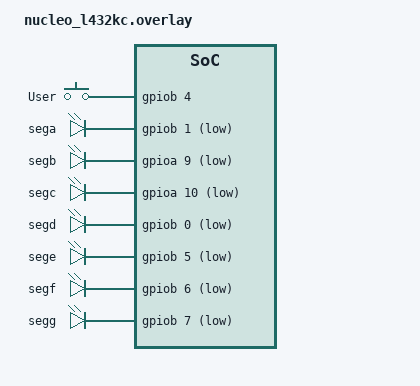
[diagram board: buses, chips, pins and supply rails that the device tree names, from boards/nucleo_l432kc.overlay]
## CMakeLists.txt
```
# SPDX-License-Identifier: Apache-2.0

cmake_minimum_required(VERSION 3.20.0)

set( CMAKE_CXX_STANDARD 20 )

find_package(Zephyr REQUIRED HINTS $ENV{ZEPHYR_BASE})
project(button)

target_sources(app PRIVATE src/main.cpp src/seg7.cpp)
set_target_properties(app PROPERTIES CXX_STANDARD 20 )
```

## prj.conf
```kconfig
CONFIG_CPP=y
CONFIG_GLIBCXX_LIBCPP=y
CONFIG_STD_CPP20=y
CONFIG_GPIO=y
```

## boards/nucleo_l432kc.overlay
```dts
/*
 * Copyright (c) 2024 Renesas Electronics Corporation
 * SPDX-License-Identifier: Apache-2.0
 */

#include <zephyr/dt-bindings/input/input-event-codes.h>

/ {
    gpio_keys {
		compatible = "gpio-keys";
		debounce-interval-ms = <50>;

		user_button: button {
			label = "User";
			gpios = <&gpiob 4 (GPIO_PULL_DOWN | GPIO_ACTIVE_HIGH)>;
			zephyr,code = <INPUT_KEY_0>;
		};
	};
	leds {
    	compatible = "gpio-leds";
        sega: led_gpio_a {
            gpios = <&gpiob 1 GPIO_ACTIVE_LOW>;
        };
        segb: led_gpio_b {
            gpios = <&gpioa 9 GPIO_ACTIVE_LOW>;
        };
        segc: led_gpio_c {
            gpios = <&gpioa 10 GPIO_ACTIVE_LOW>;
        };
        segd: led_gpio_d {
            gpios = <&gpiob 0 GPIO_ACTIVE_LOW>;
        };
        sege: led_gpio_e {
            gpios = <&gpiob 5 GPIO_ACTIVE_LOW>;
        };
        segf: led_gpio_f {
            gpios = <&gpiob 6 GPIO_ACTIVE_LOW>;
        };
        segg: led_gpio_g {
            gpios = <&gpiob 7 GPIO_ACTIVE_LOW>;
        };
	};
    aliases {
      sw0 = &user_button;
      sega = &sega;
      segb = &segb;
      segc = &segc;
      segd = &segd;
      sege = &sege;
      segf = &segf;
      segg = &segg;
    };
};
```

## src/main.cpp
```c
/*
 * Copyright (c) 2016 Open-RnD Sp. z o.o.
 * Copyright (c) 2020 Nordic Semiconductor ASA
 *
 * SPDX-License-Identifier: Apache-2.0
 *
 * NOTE: If you are looking into an implementation of button events with
 * debouncing, check out `input` subsystem and `samples/subsys/input/input_dump`
 * example instead.
 */

#include <vector>
#include <array>

#include <zephyr/kernel.h>
#include <zephyr/device.h>
#include <zephyr/drivers/gpio.h>
#include <zephyr/sys/util.h>
#include <zephyr/sys/printk.h>
#include <inttypes.h>

#include "seg7.h"

#define SLEEP_TIME_MS	1

/*
 * Get button configuration from the devicetree sw0 alias. This is mandatory.
 */
#define SW0_NODE	DT_ALIAS(sw0)
#if !DT_NODE_HAS_STATUS_OKAY(SW0_NODE)
#error "Unsupported board: sw0 devicetree alias is not defined"
#endif

#define SEGA_NODE DT_ALIAS(sega)
#if !DT_NODE_HAS_STATUS_OKAY(SEGA_NODE)
#error "sega missing"
#endif

static constexpr size_t STACKSIZE=1024;
static constexpr size_t PRIORITY=7;

static const struct gpio_dt_spec button = GPIO_DT_SPEC_GET_OR(SW0_NODE, gpios,
							      {0});
static struct gpio_callback button_cb_data;

/*
 * The led0 devicetree alias is optional. If present, we'll use it
 * to turn on the LED whenever the button is pressed.
 */
static struct gpio_dt_spec led = GPIO_DT_SPEC_GET_OR(DT_ALIAS(led0), gpios,
						     {0});
static struct gpio_dt_spec sega = GPIO_DT_SPEC_GET_OR(DT_ALIAS(sega), gpios,
						     {0});
static struct gpio_dt_spec segb = GPIO_DT_SPEC_GET_OR(DT_ALIAS(segb), gpios,
						     {0});
static struct gpio_dt_spec segc = GPIO_DT_SPEC_GET_OR(DT_ALIAS(segc), gpios,
						     {0});
static struct gpio_dt_spec segd = GPIO_DT_SPEC_GET_OR(DT_ALIAS(segd), gpios,
						     {0});
static struct gpio_dt_spec sege = GPIO_DT_SPEC_GET_OR(DT_ALIAS(sege), gpios,
						     {0});
static struct gpio_dt_spec segf = GPIO_DT_SPEC_GET_OR(DT_ALIAS(segf), gpios,
						     {0});
static struct gpio_dt_spec segg = GPIO_DT_SPEC_GET_OR(DT_ALIAS(segg), gpios,
						     {0});

//////////////////////////////////////////////////
// WorkerCommand and Queue
enum class WorkerCommand {
    Start,
    Stop
};

K_MSGQ_DEFINE( worker_queue, sizeof(WorkerCommand), 5, 1);

//////////////////////////////////////////////////
// ButtonPressCommand and Queue
enum class ButtonPressCommand {
    B1,
};
K_MSGQ_DEFINE( button_press_queue, sizeof(WorkerCommand), 5, 1);

//////////////////////////////////////////////////
// Feedback ist das Flashen der Bestätigungs-LED auf dem Board
enum class FeedBack {
    LongFlash,
    ShortFlash
};
K_MSGQ_DEFINE( feedback_queue, sizeof(FeedBack), 5, 1);

void feedback_handler(void) {
    using item_t = std::pair<FeedBack,std::vector<size_t>>;
    static const std::array<item_t,2> zeiten = {
        item_t{FeedBack::LongFlash,{500}},
        item_t{FeedBack::ShortFlash,{200,100,200}}
    };
    while (true) {
        FeedBack f;
        int const ret = k_msgq_get(&feedback_queue, &f, K_FOREVER);
        if (ret==0) {
            for (auto const& i:zeiten) {
                if (i.first==f) {
                    int status = 1;
                    for (auto const zi:i.second) {
                        gpio_pin_set_dt(&led, status);
                        k_sleep(K_MSEC(zi));
                        status = 1-status;
                    }
                    gpio_pin_set_dt(&led, 0);
                }
            }

        }
    }
}

K_THREAD_DEFINE( feedback_handler_id, STACKSIZE, feedback_handler, NULL, NULL, NULL, PRIORITY, 0, 0);

//////////////////////////////////////////////////

bool running = false;

//////////////////////////////////////////////////
void button_pressed_isr(const struct device *dev, struct gpio_callback *cb,
		    uint32_t pins)
{
    printk("Button pressed at %lld ms\n", k_uptime_get());
    ButtonPressCommand bcmd = ButtonPressCommand::B1;
    k_msgq_put(&button_press_queue,&bcmd, K_NO_WAIT);
}

//////////////////////////////////////////////////
void button_handler(void) {
    while(1) {
        ButtonPressCommand bcmd;
        k_msgq_get(&button_press_queue, &bcmd, K_FOREVER);
        ButtonPressCommand bcmd2;
        int const result = k_msgq_get(&button_press_queue, &bcmd2, K_MSEC(500));
        if (result==0) {
            printk("Doppelt\n");
            FeedBack const f = FeedBack::LongFlash;
            k_msgq_put(&feedback_queue,&f, K_NO_WAIT);
        } else {
            printk("Einfach\n");
            WorkerCommand const wcmd = running ? WorkerCommand::Stop : WorkerCommand::Start;
            k_msgq_put(&worker_queue,&wcmd, K_NO_WAIT);
            FeedBack const f = FeedBack::ShortFlash;
            k_msgq_put(&feedback_queue,&f, K_NO_WAIT);
        }
    }
}

K_THREAD_DEFINE( button_handler_id, STACKSIZE, button_handler, NULL, NULL, NULL, PRIORITY, 0, 0);

//////////////////////////////////////////////////

void takter(void) {
    enum WorkerCommand cmd;
    k_msgq_get(&worker_queue, &cmd, K_FOREVER);
    while(1) {
        k_msgq_get(&worker_queue, &cmd, K_MSEC(500));
        switch (cmd) {
            case WorkerCommand::Start:
                running = true;
                break;
            case WorkerCommand::Stop:
                running = false;
                break;
        }
        if (running) {
            show_bits(next_char_bits());
        }
    }
}

K_THREAD_DEFINE( takter_id, STACKSIZE, takter, NULL, NULL, NULL, PRIORITY, 0, 0);

//////////////////////////////////////////////////
void main_thread(void)
{
	int ret;
	enum WorkerCommand wcmd;

	printk("Starting rbapp\n");

	if (!gpio_is_ready_dt(&button)) {
		printk("Error: button device %s is not ready\n",
		       button.port->name);
		return;
	}

	ret = gpio_pin_configure_dt(&button, GPIO_INPUT);
	if (ret != 0) {
		printk("Error %d: failed to configure %s pin %d\n",
		       ret, button.port->name, button.pin);
		return;
	}

	ret = gpio_pin_interrupt_configure_dt(&button,
					      GPIO_INT_EDGE_TO_ACTIVE);
	if (ret != 0) {
		printk("Error %d: failed to configure interrupt on %s pin %d\n",
			ret, button.port->name, button.pin);
		return;
	}

	gpio_init_callback(&button_cb_data, button_pressed_isr, BIT(button.pin));
	gpio_add_callback(button.port, &button_cb_data);
	printk("Set up button at %s pin %d\n", button.port->name, button.pin);

	if (led.port && !gpio_is_ready_dt(&led)) {
		printk("Error %d: LED device %s is not ready; ignoring it\n",
		       ret, led.port->name);
		led.port = NULL;
	}
	if (led.port) {
		ret = gpio_pin_configure_dt(&led, GPIO_OUTPUT);
		if (ret != 0) {
			printk("Error %d: failed to configure LED device %s pin %d\n",
			       ret, led.port->name, led.pin);
			led.port = NULL;
		} else {
			printk("Set up LED at %s pin %d\n", led.port->name, led.pin);
		}
	}

	init_segments();
	init_balken( &sega, B_A);
	init_balken( &segb, B_B);
	init_balken( &segc, B_C);
	init_balken( &segd, B_D);
	init_balken( &sege, B_E);
	init_balken( &segf, B_F);
	init_balken( &segg, B_G);

	printk("Press the button\n");
	if (led.port) {
	    wcmd = WorkerCommand::Start;
        k_msgq_put(&worker_queue,&wcmd, K_NO_WAIT);
		while (1) {
			/* If we have an LED, match its state to the button's. */
			int val = gpio_pin_get_dt(&button);

			if (val >= 0) {
				//gpio_pin_set_dt(&led, val);
			}
			k_msleep(SLEEP_TIME_MS);
		}
	}
}

K_THREAD_DEFINE( main_thread_id, STACKSIZE, main_thread, NULL, NULL, NULL, PRIORITY, 0, 0);
```

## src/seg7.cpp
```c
#include <tuple>
#include <type_traits>
#include <zephyr/drivers/gpio.h>
#include <zephyr/sys/printk.h>
#include "seg7.h"

struct seg_data {
    struct gpio_dt_spec* spec;
    const char* name;
};

static struct seg_data segs[NUM_BALKEN];

void init_segments() {
    int i;
    for (i=0;i<NUM_BALKEN;i++) {
        segs[i].spec = NULL;
        segs[i].name = NULL;
    }
}

void init_balken( struct gpio_dt_spec* s, enum Balken b ) {
    const char* name = s->port->name;
    bool ret = false;
    printk("Init segment %d/%s\n", b, name);

    ret = gpio_is_ready_dt(s);
    if (s->port && !ret) {
		printk("Error %d: segment device %s is not ready; ignoring it\n",
		       ret, s->port->name);
		s->port = NULL;
	}
	if (s->port) {
		ret = gpio_pin_configure_dt(s, GPIO_OUTPUT);
		if (ret != 0) {
			printk("Error %d: failed to configure sega device %s pin %d\n",
			       ret, s->port->name, s->pin);
			s->port = NULL;
		} else {
			printk("Set up segment at %s pin %d\n", name, s->pin);
			gpio_pin_set_dt(s,0);
		}
		segs[b].spec = s;
		segs[b].name = name;
	}
}

void toggle_all_segments() {
    int i;
    for (i=0;i<NUM_BALKEN;i++) {
        if (segs[i].spec != NULL) {
            gpio_pin_toggle_dt(segs[i].spec);
        }
    }
}

void show_bits(unsigned short b) {
    int i;
    for (i=0;i<NUM_BALKEN;i++) {
        int const v = (b & (1<<i)) ? 1:0;
        gpio_pin_set_dt(segs[i].spec,v);
    }
}

template<Balken... B> constexpr unsigned short bits() {
    return ((1<<B)|...);
}

template<char C,Balken... B> struct SegChar {
    static constexpr char c = C;
    static constexpr unsigned short bi = bits<B...>();
    static void show() {
        show_bits(bi);
        printk("Showing %c, %d\n",c,bi);
    }
};

using SegChar0 = SegChar<'0',B_A,B_B,B_C,B_D,B_E,B_F>;
using SegChar1 = SegChar<'1',B_B,B_C>;
using SegChar2 = SegChar<'2',B_A,B_B,B_G,B_E,B_D>;
using SegChar3 = SegChar<'3',B_A,B_B,B_G,B_C,B_D>;
using SegChar4 = SegChar<'4',B_F,B_G,B_B,B_C>;
using SegChar5 = SegChar<'5',B_A,B_F,B_G,B_C,B_D>;
using SegChar6 = SegChar<'6',B_A,B_F,B_E,B_D,B_C,B_G>;
using SegChar7 = SegChar<'7',B_A,B_B,B_C>;
using SegChar8 = SegChar<'8',B_A,B_B,B_C,B_D,B_E,B_F,B_G>;
using SegChar9 = SegChar<'9',B_D,B_C,B_B,B_A,B_F,B_G>;
using SegCharA = SegChar<'A',B_E,B_F,B_A,B_B,B_C,B_G>;
using SegCharB = SegChar<'B',B_F,B_E,B_D,B_C,B_G>;
using SegCharC = SegChar<'C',B_A,B_F,B_E,B_D>;
using SegCharD = SegChar<'D',B_B,B_G,B_E,B_D,B_C>;
using SegCharE = SegChar<'E',B_A,B_F,B_G,B_E,B_D>;
using SegCharF = SegChar<'F',B_A,B_F,B_G,B_E>;
using AllChars = std::tuple<SegChar0,SegChar1,SegChar2,SegChar3,
    SegChar4,SegChar5,SegChar6,SegChar7,SegChar8,SegChar9,
    SegCharA,SegCharB,SegCharC,SegCharD,SegCharE,SegCharF>;
static constexpr size_t num_chars = std::tuple_size<AllChars>::value;

template<size_t N>
using seg_char_i = std::tuple_element_t<N,AllChars>;

struct show_op {
    template<typename C>
    struct op {
        static void call() {
            C::show();
        }
    };
};

template<typename OP, size_t N>
void call_char_1( char c ) {
    using char_i = typename std::tuple_element_t<N,AllChars>;
    using op = typename OP::op<char_i>;
    if (c==char_i::c) {
        op::call();
    } else {
        if constexpr (N>0) {
            call_char_1<OP,N-1>(c);
        } else {
            printk("Unknown char");
        }
    }
}

template<typename OP>
void call_char( char c ) {
    call_char_1<OP,num_chars-1>(c);
}

void show_char( char c ) {
    call_char<show_op>(c);
}

template<size_t N> unsigned short get_bits(size_t i) {
    if (N==i) {
        return seg_char_i<N>::bi;
    }
    if constexpr (N>0) {
        return get_bits<N-1>(i);
    }
    return 0;
}

unsigned short next_char_bits() {
    static size_t st = 0;
    auto const ret = get_bits<num_chars-1>(st);
    st = (st+1) % num_chars;
    return ret;
}
```

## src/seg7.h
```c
#if !defined(SEG7_HEADER)
#define SEG7_HEADER

#include <zephyr/device.h>
#include <zephyr/drivers/gpio.h>

#ifdef __cplusplus
extern "C" {
#endif

enum Balken {
    B_A,
    B_B,
    B_C,
    B_D,
    B_E,
    B_F,
    B_G
};

#define NUM_BALKEN 7

void init_segments();
void init_balken( struct gpio_dt_spec * s, enum Balken b );

void show_bits(unsigned short b);
void show_char( char c );

unsigned short next_char_bits();

void toggle_all_segments();

#ifdef __cplusplus
}
#endif

#endif
```
